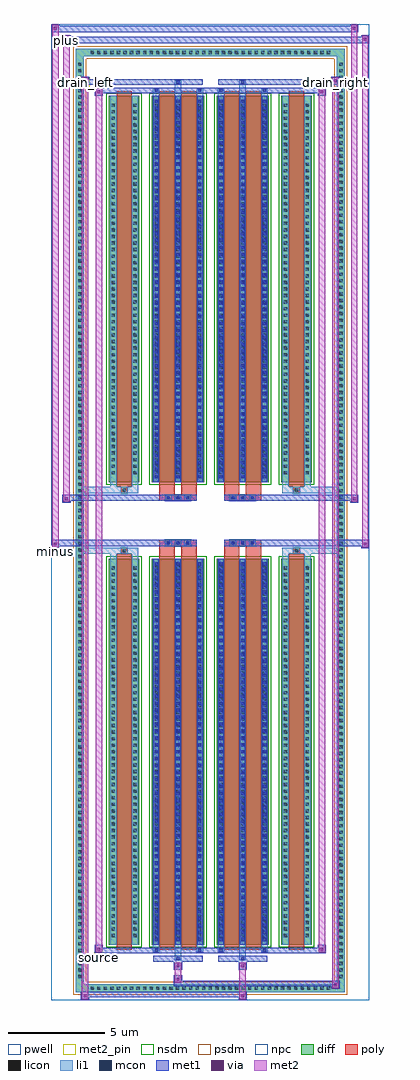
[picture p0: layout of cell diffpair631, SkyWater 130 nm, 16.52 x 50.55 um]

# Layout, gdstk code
import gdstk
lib = gdstk.Library(unit=1e-6, precision=5e-09)
def R(c, l, rs):  # rectangles x0, y0, x1, y1
    for r in rs: c.add(gdstk.rectangle(r[:2], r[2:], *l))
def A(c, l, x, y, w, h, nx, ny, dx, dy):  # array of equal rectangles
    R(c, l, [(x+i*dx, y+j*dy, x+i*dx+w, y+j*dy+h) for i in range(nx) for j in range(ny)])
def P(c, l, *ps):  # polygons
    for p in ps: c.add(gdstk.Polygon(p, *l))
pwell = (64, 44)
diff = (65, 20)
poly = (66, 20)
licon = (66, 44)
li1 = (67, 20)
mcon = (67, 44)
met1 = (68, 20)
via = (68, 44)
met2_pin = (69, 16)
met2 = (69, 20)
nsdm = (93, 44)
psdm = (94, 20)
npc = (95, 20)

diffpair631 = lib.new_cell('diffpair631')
R(diffpair631, pwell, [(-8.24,-24.84,8.24,25.71), (-5.56,-23.03,-0.01,-0.805), (0.01,-23.03,5.56,-0.805), (-5.56,0.805,-0.01,23.03), (0.01,0.805,5.56,23.03)])
A(diffpair631, diff, -6.325, -24.44, 0.41, 0.41, 37, 2, 0.34, 48.47)
A(diffpair631, diff, -6.97, -23.835, 0.41, 0.41, 1, 140, 0, 0.34)
A(diffpair631, diff, 6.56, -23.835, 0.41, 0.41, 1, 140, 0, 0.34)
R(diffpair631, diff, [(-6.325,-24.44,6.325,-24.03), (-6.97,-23.835,-6.56,23.835), (6.56,-23.835,6.97,23.835), (-5.25,-21.985,-3.67,-1.985), (-3.03,-21.985,-0.32,-1.985), (0.32,-21.985,3.03,-1.985), (3.67,-21.985,5.25,-1.985), (-5.25,1.985,-3.67,21.985), (-3.03,1.985,-0.32,21.985), (0.32,1.985,3.03,21.985), (3.67,1.985,5.25,21.985), (-6.325,24.03,6.325,24.44)])
P(diffpair631, diff, [(6.97,24.44),(-6.97,24.44),(-6.97,-24.03),(-6.56,-24.03),(-6.56,24.03),(6.56,24.03),(6.56,-24.03),(-6.56,-24.03),(-6.97,-24.03),(-6.97,-24.44),(6.97,-24.44)])
A(diffpair631, poly, -2.34, -1.335, 0.33, 0.33, 3, 2, 0.5, 2.34)
A(diffpair631, poly, 1.01, -1.335, 0.33, 0.33, 3, 2, 0.5, 2.34)
R(diffpair631, poly, [(-4.86,-22.235,-4.06,-1.735), (-2.64,-22.235,-1.84,-1.735), (-1.51,-22.235,-0.71,-1.735), (0.71,-22.235,1.51,-1.735), (1.84,-22.235,2.64,-1.735), (4.06,-22.235,4.86,-1.735), (-4.625,-1.735,-4.295,-1.405), (-4.625,-1.735,-4.295,-1.405), (-2.64,-1.735,-1.84,-1.335), (-1.51,-1.735,-0.71,-1.335), (0.71,-1.735,1.51,-1.335), (1.84,-1.735,2.64,-1.335), (4.295,-1.735,4.625,-1.405), (4.295,-1.735,4.625,-1.405), (-2.64,-1.335,-0.71,-1.005), (0.71,-1.335,2.64,-1.005), (-2.64,1.005,-0.71,1.335), (0.71,1.005,2.64,1.335), (-2.64,1.335,-1.84,1.735), (-1.51,1.335,-0.71,1.735), (0.71,1.335,1.51,1.735), (1.84,1.335,2.64,1.735), (-4.625,1.405,-4.295,1.735), (-4.625,1.405,-4.295,1.735), (4.295,1.405,4.625,1.735), (4.295,1.405,4.625,1.735), (-4.86,1.735,-4.06,22.235), (-2.64,1.735,-1.84,22.235), (-1.51,1.735,-0.71,22.235), (0.71,1.735,1.51,22.235), (1.84,1.735,2.64,22.235), (4.06,1.735,4.86,22.235)])
A(diffpair631, licon, -6.205, -24.32, 0.17, 0.17, 37, 2, 0.34, 48.47)
A(diffpair631, licon, -6.85, -23.715, 0.17, 0.17, 1, 140, 0, 0.34)
A(diffpair631, licon, 6.68, -23.715, 0.17, 0.17, 1, 140, 0, 0.34)
A(diffpair631, licon, -5.11, -21.59, 0.17, 0.17, 1, 57, 0, 0.34)
A(diffpair631, licon, -3.98, -21.59, 0.17, 0.17, 1, 57, 0, 0.34)
A(diffpair631, licon, -2.89, -21.59, 0.17, 0.17, 3, 57, 1.13, 0.34)
A(diffpair631, licon, 0.46, -21.59, 0.17, 0.17, 3, 57, 1.13, 0.34)
A(diffpair631, licon, 3.81, -21.59, 0.17, 0.17, 1, 57, 0, 0.34)
A(diffpair631, licon, 4.94, -21.59, 0.17, 0.17, 1, 57, 0, 0.34)
A(diffpair631, licon, -2.26, -1.255, 0.17, 0.17, 3, 2, 0.5, 2.34)
A(diffpair631, licon, 1.09, -1.255, 0.17, 0.17, 3, 2, 0.5, 2.34)
A(diffpair631, licon, -5.11, 2.38, 0.17, 0.17, 1, 57, 0, 0.34)
A(diffpair631, licon, -3.98, 2.38, 0.17, 0.17, 1, 57, 0, 0.34)
A(diffpair631, licon, -2.89, 2.38, 0.17, 0.17, 3, 57, 1.13, 0.34)
A(diffpair631, licon, 0.46, 2.38, 0.17, 0.17, 3, 57, 1.13, 0.34)
A(diffpair631, licon, 3.81, 2.38, 0.17, 0.17, 1, 57, 0, 0.34)
A(diffpair631, licon, 4.94, 2.38, 0.17, 0.17, 1, 57, 0, 0.34)
R(diffpair631, licon, [(-4.545,-1.655,-4.375,-1.485), (4.375,-1.655,4.545,-1.485), (-4.545,1.485,-4.375,1.655), (4.375,1.485,4.545,1.655)])
A(diffpair631, li1, -6.285, -24.4, 0.33, 0.33, 37, 2, 0.34, 48.47)
A(diffpair631, li1, -6.93, -23.795, 0.33, 0.33, 1, 140, 0, 0.34)
A(diffpair631, li1, 6.6, -23.795, 0.33, 0.33, 1, 140, 0, 0.34)
A(diffpair631, li1, -2.97, -21.985, 0.33, 20, 3, 2, 1.13, 23.97)
A(diffpair631, li1, 0.38, -21.985, 0.33, 20, 3, 2, 1.13, 23.97)
A(diffpair631, li1, -2.89, -21.79, 0.17, 0.17, 3, 55, 1.13, 0.36)
A(diffpair631, li1, -2.89, -21.79, 0.17, 19.61, 3, 2, 1.13, 23.97)
A(diffpair631, li1, 0.46, -21.79, 0.17, 0.17, 3, 55, 1.13, 0.36)
A(diffpair631, li1, 0.46, -21.79, 0.17, 19.61, 3, 2, 1.13, 23.97)
A(diffpair631, li1, -5.19, -21.67, 0.33, 0.33, 1, 57, 0, 0.34)
A(diffpair631, li1, -4.06, -21.67, 0.33, 0.33, 1, 57, 0, 0.34)
A(diffpair631, li1, -2.97, -21.67, 0.33, 0.33, 3, 57, 1.13, 0.34)
A(diffpair631, li1, 0.38, -21.67, 0.33, 0.33, 3, 57, 1.13, 0.34)
A(diffpair631, li1, 3.73, -21.67, 0.33, 0.33, 1, 57, 0, 0.34)
A(diffpair631, li1, 4.86, -21.67, 0.33, 0.33, 1, 57, 0, 0.34)
A(diffpair631, li1, -2.34, -1.335, 0.33, 0.33, 3, 2, 0.5, 2.34)
A(diffpair631, li1, 1.01, -1.335, 0.33, 0.33, 3, 2, 0.5, 2.34)
A(diffpair631, li1, -2.89, 2.18, 0.17, 0.17, 3, 55, 1.13, 0.36)
A(diffpair631, li1, 0.46, 2.18, 0.17, 0.17, 3, 55, 1.13, 0.36)
A(diffpair631, li1, -5.19, 2.3, 0.33, 0.33, 1, 57, 0, 0.34)
A(diffpair631, li1, -4.06, 2.3, 0.33, 0.33, 1, 57, 0, 0.34)
A(diffpair631, li1, -2.97, 2.3, 0.33, 0.33, 3, 57, 1.13, 0.34)
A(diffpair631, li1, 0.38, 2.3, 0.33, 0.33, 3, 57, 1.13, 0.34)
A(diffpair631, li1, 3.73, 2.3, 0.33, 0.33, 1, 57, 0, 0.34)
A(diffpair631, li1, 4.86, 2.3, 0.33, 0.33, 1, 57, 0, 0.34)
R(diffpair631, li1, [(-6.97,-24.44,-6.56,-24.03), (-6.97,-24.44,-6.56,-24.03), (-6.56,-24.44,6.56,-24.03), (6.56,-24.44,6.97,-24.03), (6.56,-24.44,6.97,-24.03), (-6.97,-24.03,-6.56,24.03), (6.56,-24.03,6.97,24.03), (-1.84,-22.79,-1.51,-21.985), (-1.76,-22.79,-1.59,-22.62), (1.51,-22.79,1.84,-21.985), (1.59,-22.79,1.76,-22.62), (-2.97,-22.36,-2.64,-21.985), (-2.89,-22.36,-2.72,-22.19), (-0.71,-22.36,-0.38,-21.985), (-0.63,-22.36,-0.46,-22.19), (0.38,-22.36,0.71,-21.985), (0.46,-22.36,0.63,-22.19), (2.64,-22.36,2.97,-21.985), (2.72,-22.36,2.89,-22.19), (-5.19,-21.985,-4.86,-1.985), (-4.06,-21.985,-3.73,-1.985), (3.73,-21.985,4.06,-1.985), (4.86,-21.985,5.19,-1.985), (-5.19,-1.985,-4.86,-1.405), (-4.06,-1.985,-3.73,-1.405), (3.73,-1.985,4.06,-1.405), (4.86,-1.985,5.19,-1.405), (-6.97,-1.735,-4.625,-1.405), (-5.19,-1.735,-4.625,-1.405), (-4.625,-1.735,-4.295,-1.405), (-4.295,-1.735,-3.73,-1.405), (3.73,-1.735,4.295,-1.405), (4.295,-1.735,4.625,-1.405), (4.295,-1.735,6.97,-1.405), (4.625,-1.735,5.19,-1.405), (-6.97,1.405,-4.625,1.735), (-5.19,1.405,-4.625,1.735), (-5.19,1.405,-4.86,1.985), (-4.625,1.405,-4.295,1.735), (-4.295,1.405,-3.73,1.735), (-4.06,1.405,-3.73,1.985), (3.73,1.405,4.295,1.735), (3.73,1.405,4.06,1.985), (4.295,1.405,4.625,1.735), (4.295,1.405,6.97,1.735), (4.625,1.405,5.19,1.735), (4.86,1.405,5.19,1.985), (-5.19,1.985,-4.86,21.985), (-4.06,1.985,-3.73,21.985), (3.73,1.985,4.06,21.985), (4.86,1.985,5.19,21.985), (-2.97,21.985,-2.64,22.36), (-1.84,21.985,-1.51,22.79), (-0.71,21.985,-0.38,22.36), (0.38,21.985,0.71,22.36), (1.51,21.985,1.84,22.79), (2.64,21.985,2.97,22.36), (-2.89,22.19,-2.72,22.36), (-0.63,22.19,-0.46,22.36), (0.46,22.19,0.63,22.36), (2.72,22.19,2.89,22.36), (-1.76,22.62,-1.59,22.79), (1.59,22.62,1.76,22.79), (-6.97,24.03,-6.56,24.44), (-6.97,24.03,-6.56,24.44), (-6.56,24.03,6.56,24.44), (6.56,24.03,6.97,24.44), (6.56,24.03,6.97,24.44)])
A(diffpair631, mcon, -2.89, -21.79, 0.17, 0.17, 3, 55, 1.13, 0.36)
A(diffpair631, mcon, 0.46, -21.79, 0.17, 0.17, 3, 55, 1.13, 0.36)
A(diffpair631, mcon, -2.26, -1.255, 0.17, 0.17, 3, 2, 0.5, 2.34)
A(diffpair631, mcon, 1.09, -1.255, 0.17, 0.17, 3, 2, 0.5, 2.34)
A(diffpair631, mcon, -2.89, 2.18, 0.17, 0.17, 3, 55, 1.13, 0.36)
A(diffpair631, mcon, 0.46, 2.18, 0.17, 0.17, 3, 55, 1.13, 0.36)
R(diffpair631, mcon, [(-1.76,-22.79,-1.59,-22.62), (1.59,-22.79,1.76,-22.62), (-2.89,-22.36,-2.72,-22.19), (-0.63,-22.36,-0.46,-22.19), (0.46,-22.36,0.63,-22.19), (2.72,-22.36,2.89,-22.19), (-2.89,22.19,-2.72,22.36), (-0.63,22.19,-0.46,22.36), (0.46,22.19,0.63,22.36), (2.72,22.19,2.89,22.36), (-1.76,22.62,-1.59,22.79), (1.59,22.62,1.76,22.79)])
A(diffpair631, met1, -2.95, -21.985, 0.29, 20, 3, 2, 1.13, 23.97)
A(diffpair631, met1, 0.4, -21.985, 0.29, 20, 3, 2, 1.13, 23.97)
A(diffpair631, met1, -2.95, -21.85, 0.29, 0.29, 3, 55, 1.13, 0.36)
A(diffpair631, met1, 0.4, -21.85, 0.29, 0.29, 3, 55, 1.13, 0.36)
A(diffpair631, met1, -2.32, -1.315, 0.29, 0.29, 3, 2, 0.5, 2.34)
A(diffpair631, met1, 1.03, -1.315, 0.29, 0.29, 3, 2, 0.5, 2.34)
A(diffpair631, met1, -2.95, 2.12, 0.29, 0.29, 3, 55, 1.13, 0.36)
A(diffpair631, met1, 0.4, 2.12, 0.29, 0.29, 3, 55, 1.13, 0.36)
R(diffpair631, met1, [(-6.7,-24.84,-6.27,-24.41), (1.46,-24.84,1.89,-24.41), (-6.7,-24.7,1.89,-24.41), (6.27,-24.27,6.7,-23.84), (-1.89,-24.13,6.7,-23.84), (-1.89,-23.99,-1.46,-23.56), (-1.89,-23.28,-1.46,-22.85), (1.46,-23.28,1.89,-22.85), (-2.95,-22.85,-0.4,-22.56), (-1.82,-22.85,-1.53,-22.56), (0.4,-22.85,2.95,-22.56), (1.53,-22.85,1.82,-22.56), (-5.99,-22.42,-5.56,-21.99), (-5.99,-22.42,-2.95,-22.13), (-2.95,-22.42,-2.66,-22.13), (-2.95,-22.42,-0.4,-22.13), (-0.69,-22.42,-0.4,-22.13), (-0.4,-22.42,0.4,-22.13), (0.4,-22.42,0.69,-22.13), (0.4,-22.42,2.95,-22.13), (2.66,-22.42,2.95,-22.13), (2.95,-22.42,5.99,-22.13), (5.56,-22.42,5.99,-21.99), (-8.24,-1.435,-7.81,-1.005), (7.81,-1.435,8.24,-1.005), (-8.24,-1.335,-0.71,-1.005), (-2.64,-1.335,-0.71,-1.005), (0.71,-1.335,2.64,-1.005), (0.71,-1.335,8.24,-1.005), (-7.67,0.905,-7.24,1.335), (7.24,0.905,7.67,1.335), (-7.67,1.005,-2.64,1.335), (-2.64,1.005,-0.71,1.335), (0.71,1.005,2.64,1.335), (2.64,1.005,7.67,1.335), (-5.99,21.99,-5.56,22.42), (5.56,21.99,5.99,22.42), (-5.99,22.13,-2.95,22.42), (-2.95,22.13,-2.66,22.42), (-2.95,22.13,-0.4,22.42), (-0.69,22.13,-0.4,22.42), (-0.4,22.13,0.4,22.42), (0.4,22.13,0.69,22.42), (0.4,22.13,2.95,22.42), (2.66,22.13,2.95,22.42), (2.95,22.13,5.99,22.42), (-6.7,22.56,-6.27,22.99), (-6.7,22.56,-2.95,22.85), (-2.95,22.56,-0.4,22.85), (-1.82,22.56,-1.53,22.85), (0.4,22.56,2.95,22.85), (1.53,22.56,1.82,22.85), (2.95,22.56,6.7,22.85), (6.27,22.56,6.7,22.99), (-7.67,24.71,-7.24,25.14), (-7.67,24.71,-5.56,25.04), (-5.56,24.71,5.56,25.04), (5.56,24.71,8.24,25.04), (7.81,24.71,8.24,25.14), (-8.24,25.28,-7.81,25.71), (-8.24,25.28,-5.56,25.61), (-5.56,25.28,5.56,25.61), (5.56,25.28,7.67,25.61), (7.24,25.28,7.67,25.71)])
R(diffpair631, via, [(-6.56,-24.7,-6.41,-24.55), (1.6,-24.7,1.75,-24.55), (6.41,-24.13,6.56,-23.98), (-1.75,-23.85,-1.6,-23.7), (-1.75,-23.14,-1.6,-22.99), (1.6,-23.14,1.75,-22.99), (-5.85,-22.28,-5.7,-22.13), (5.7,-22.28,5.85,-22.13), (-8.1,-1.295,-7.95,-1.145), (7.95,-1.295,8.1,-1.145), (-7.53,1.045,-7.38,1.195), (7.38,1.045,7.53,1.195), (-5.85,22.13,-5.7,22.28), (5.7,22.13,5.85,22.28), (-6.56,22.7,-6.41,22.85), (6.41,22.7,6.56,22.85), (-7.53,24.85,-7.38,25), (7.95,24.85,8.1,25), (-8.1,25.42,-7.95,25.57), (7.38,25.42,7.53,25.57)])
R(diffpair631, met2_pin, [(-6.025,-22.87,-5.525,-22.37), (-8.275,-1.885,-7.775,-1.385), (-6.735,22.44,-6.235,22.94), (6.235,22.44,6.735,22.94), (-7.705,24.59,-7.205,25.09)])
R(diffpair631, met2, [(-6.65,-24.79,-6.32,-24.46), (-6.65,-24.79,-6.32,22.94), (1.51,-24.79,1.84,-24.46), (1.51,-24.46,1.84,-23.23), (6.32,-24.22,6.65,-23.89), (6.32,-24.22,6.65,22.94), (-1.84,-23.94,-1.51,-23.61), (-1.84,-23.61,-1.51,-23.23), (-1.84,-23.23,-1.51,-22.9), (1.51,-23.23,1.84,-22.9), (-5.94,-22.37,-5.61,-22.04), (-5.94,-22.37,-5.61,22.37), (5.61,-22.37,5.94,-22.04), (5.61,-22.37,5.94,22.37), (-8.19,-1.385,-7.86,-1.055), (-8.19,-1.385,-7.86,25.66), (7.86,-1.385,8.19,-1.055), (7.86,-1.385,8.19,25.09), (-7.62,0.955,-7.29,1.285), (-7.62,0.955,-7.29,25.09), (7.29,0.955,7.62,1.285), (7.29,0.955,7.62,25.66), (-5.94,22.04,-5.61,22.37), (5.61,22.04,5.94,22.37), (-6.65,22.61,-6.32,22.94), (6.32,22.61,6.65,22.94), (-7.62,24.76,-7.29,25.09), (7.86,24.76,8.19,25.09), (-8.19,25.33,-7.86,25.66), (7.29,25.33,7.62,25.66)])
P(diffpair631, met2, [(8.19,-1.385),(8.19,-1.385),(8.19,-1.055),(8.19,-1.055)],
  [(8.19,24.76),(8.19,24.76),(8.19,25.09),(8.19,25.09)],
  [(-7.86,-1.385),(-7.86,-1.385),(-7.86,-1.055),(-7.86,-1.055)],
  [(-7.86,25.33),(-7.86,25.33),(-7.86,25.66),(-7.86,25.66)],
  [(7.62,0.955),(7.62,0.955),(7.62,1.285),(7.62,1.285)],
  [(7.62,25.33),(7.62,25.33),(7.62,25.66),(7.62,25.66)],
  [(-7.29,0.955),(-7.29,0.955),(-7.29,1.285),(-7.29,1.285)],
  [(-7.29,24.76),(-7.29,24.76),(-7.29,25.09),(-7.29,25.09)],
  [(-6.32,-24.79),(-6.32,-24.79),(-6.32,-24.46),(-6.32,-24.46)],
  [(-6.32,22.61),(-6.32,22.61),(-6.32,22.94),(-6.32,22.94)],
  [(6.65,-24.22),(6.65,-24.22),(6.65,-23.89),(6.65,-23.89)],
  [(6.65,22.61),(6.65,22.61),(6.65,22.94),(6.65,22.94)],
  [(-5.61,-22.37),(-5.61,-22.37),(-5.61,-22.04),(-5.61,-22.04)],
  [(-5.61,22.04),(-5.61,22.04),(-5.61,22.37),(-5.61,22.37)],
  [(5.94,-22.37),(5.94,-22.37),(5.94,-22.04),(5.94,-22.04)],
  [(5.94,22.04),(5.94,22.04),(5.94,22.37),(5.94,22.37)])
R(diffpair631, nsdm, [(-5.38,-22.115,-3.54,-1.855), (-3.16,-22.115,-0.19,-1.855), (0.19,-22.115,3.16,-1.855), (3.54,-22.115,5.38,-1.855), (-5.38,1.855,-3.54,22.115), (-3.16,1.855,-0.19,22.115), (0.19,1.855,3.16,22.115), (3.54,1.855,5.38,22.115)])
P(diffpair631, psdm, [(7.1,24.57),(-7.1,24.57),(-7.1,-23.9),(-6.43,-23.9),(-6.43,23.9),(6.43,23.9),(6.43,-23.9),(-6.43,-23.9),(-7.1,-23.9),(-7.1,-24.57),(7.1,-24.57)])
A(diffpair631, npc, -2.36, -1.355, 0.37, 0.37, 3, 2, 0.5, 2.34)
A(diffpair631, npc, 0.99, -1.355, 0.37, 0.37, 3, 2, 0.5, 2.34)
R(diffpair631, npc, [(-4.645,-1.755,-4.275,-1.385), (4.275,-1.755,4.645,-1.385), (-2.36,-1.355,-1.49,-0.985), (-2.36,-1.355,-1.49,-0.985), (-1.86,-1.355,-0.99,-0.985), (-1.86,-1.355,-0.99,-0.985), (0.99,-1.355,1.86,-0.985), (0.99,-1.355,1.86,-0.985), (1.49,-1.355,2.36,-0.985), (1.49,-1.355,2.36,-0.985), (-2.36,0.985,-1.49,1.355), (-2.36,0.985,-1.49,1.355), (-1.86,0.985,-0.99,1.355), (-1.86,0.985,-0.99,1.355), (0.99,0.985,1.86,1.355), (0.99,0.985,1.86,1.355), (1.49,0.985,2.36,1.355), (1.49,0.985,2.36,1.355), (-4.645,1.385,-4.275,1.755), (4.275,1.385,4.645,1.755)])
diffpair631.add(gdstk.Label('minus', (-8.025,-1.635), layer=69, texttype=5))
diffpair631.add(gdstk.Label('drain_right', (6.485,22.69), layer=69, texttype=5))
diffpair631.add(gdstk.Label('drain_left', (-6.485,22.69), layer=69, texttype=5))
diffpair631.add(gdstk.Label('source', (-5.775,-22.62), layer=69, texttype=5))
diffpair631.add(gdstk.Label('plus', (-7.455,24.84), layer=69, texttype=5))

lib.write_gds('diffpair631.gds')
